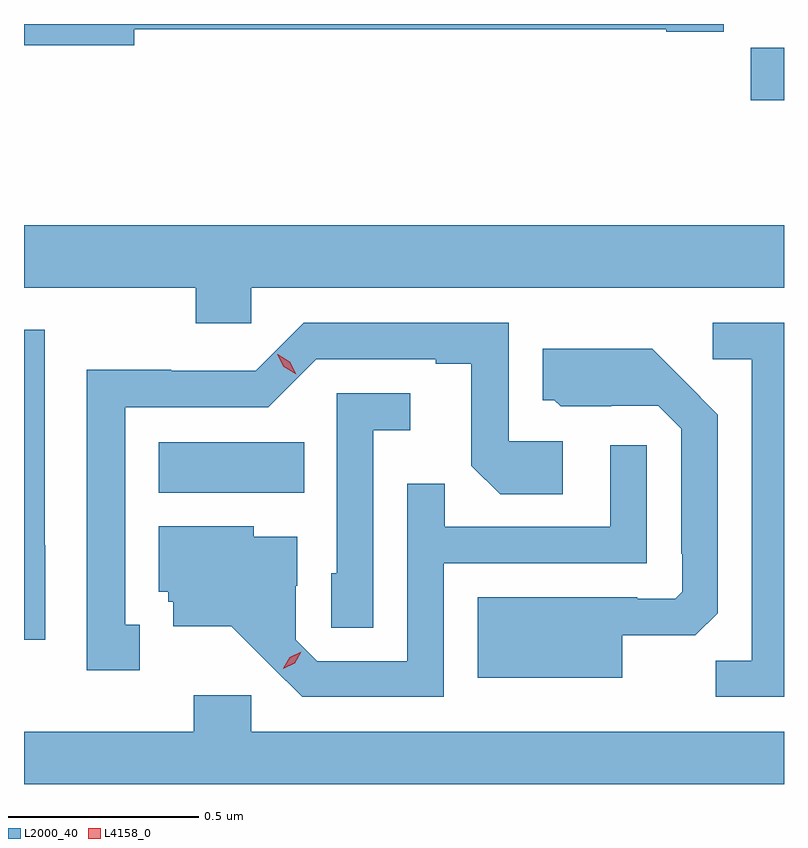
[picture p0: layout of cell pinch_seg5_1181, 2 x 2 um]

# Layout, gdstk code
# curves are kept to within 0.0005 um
import gdstk
lib = gdstk.Library(unit=1e-6, precision=1e-09)
def R(c, l, rs):  # rectangles x0, y0, x1, y1
    for r in rs: c.add(gdstk.rectangle(r[:2], r[2:], *l))
def P(c, l, *ps):  # polygons
    for p in ps: c.add(gdstk.Polygon(p, *l))
L2000_40 = (2000, 40)
L4158_0 = (4158, 0)

pinch_seg5_1181 = lib.new_cell('pinch_seg5_1181')
R(pinch_seg5_1181, L2000_40, [(768.962,840.236,769.346,840.37), (770.52,841.27,770.608,841.408)])
P(pinch_seg5_1181, L2000_40, [(768.898,841.456),(770.298,841.456),(770.298,841.45),(770.45,841.45),(770.45,841.47),(768.608,841.47),(768.608,841.414),(768.898,841.414)],
  [(769.206,840.776),(770.608,840.776),(770.608,840.94),(768.608,840.94),(768.608,840.776),(769.06,840.776),(769.06,840.683),(769.206,840.683)],
  [(770.608,840.684),(770.421,840.684),(770.421,840.588),(770.523,840.588),(770.523,839.795),(770.428,839.795),(770.428,839.7),(770.608,839.7)],
  [(768.913,839.889),(768.874,839.889),(768.874,840.462),(769.251,840.462),(769.377,840.588),(769.691,840.588),(769.691,840.576),(769.785,840.576),(769.785,840.308),(769.861,840.232),(770.026,840.232),(770.026,840.372),(769.884,840.372),(769.884,840.684),(769.344,840.684),(769.218,840.558),(768.996,840.558),(768.996,840.56),(768.773,840.56),(768.773,839.769),(768.913,839.769)],
  [(768.664,840.098),(768.663,840.098),(768.663,840.666),(768.608,840.666),(768.608,839.85),(768.664,839.85)],
  [(770.182,839.861),(770.374,839.861),(770.433,839.92),(770.433,840.442),(770.261,840.616),(769.973,840.616),(769.973,840.48),(770.004,840.48),(770.02,840.464),(770.154,840.464),(770.154,840.465),(770.277,840.465),(770.337,840.405),(770.337,840.076),(770.34,840.076),(770.34,839.976),(770.322,839.958),(770.222,839.958),(770.222,839.962),(769.802,839.962),(769.802,839.75),(770.182,839.75)],
  [(769.527,840.401),(769.624,840.401),(769.624,840.498),(769.431,840.498),(769.431,840.024),(769.416,840.024),(769.416,839.881),(769.527,839.881)],
  [(769.713,840.051),(770.247,840.051),(770.247,840.361),(770.151,840.361),(770.151,840.147),(769.715,840.147),(769.715,840.26),(769.617,840.26),(769.617,839.793),(769.38,839.793),(769.323,839.85),(769.323,839.992),(769.327,839.992),(769.327,840.121),(769.212,840.121),(769.212,840.148),(768.962,840.148),(768.962,839.976),(768.987,839.976),(768.987,839.949),(769.001,839.949),(769.001,839.885),(769.153,839.885),(769.34,839.7),(769.713,839.7)],
  [(770.608,839.608),(769.206,839.608),(769.206,839.704),(769.055,839.704),(769.055,839.608),(768.608,839.608),(768.608,839.47),(770.608,839.47)])
P(pinch_seg5_1181, L4158_0, [(769.29,839.773),(769.29,839.774),(769.307,839.803),(769.338,839.818),(769.338,839.818),(769.338,839.818),(769.321,839.788),(769.29,839.773)],
  [(769.324,840.548),(769.292,840.568),(769.275,840.601),(769.275,840.601),(769.276,840.601),(769.307,840.581),(769.324,840.548),(769.324,840.548)])

lib.write_gds('pinch_seg5_1181.gds')
